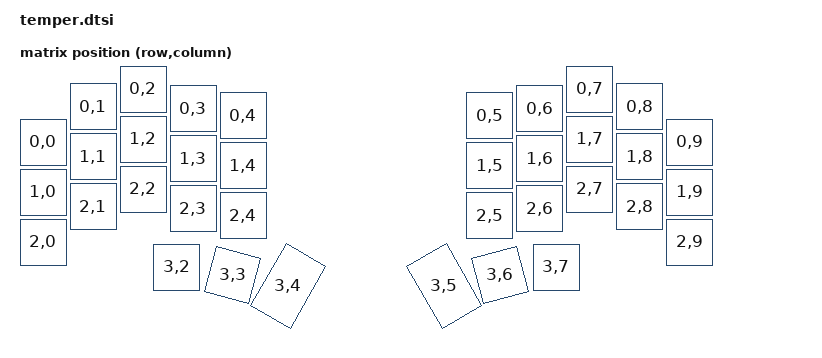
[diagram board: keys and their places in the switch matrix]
/*
 * Copyright (c) 2020 Pete Johanson
 *
 * SPDX-License-Identifier: MIT
 */

#include <dt-bindings/zmk/matrix_transform.h>
#include <physical_layouts.dtsi>

/ {
    chosen {
        zmk,kscan = &kscan0;
        zmk,physical-layout = &physical_layout0;
    };

    default_transform: keymap_transform_0 {
        compatible = "zmk,matrix-transform";
        columns = <10>;
        rows = <4>;
// | SW1  | SW2  | SW3  | SW4  | SW5  |   | SW5  | SW4  | SW3  | SW2  | SW1  |
// | SW6  | SW7  | SW8  | SW9  | SW10 |   | SW10 | SW9  | SW8  | SW7  | SW6  |
// | SW11 | SW12 | SW13 | SW14 | SW15 |   | SW15 | SW14 | SW13 | SW12 | SW11 |
//               | SW16 | SW17 | SW18 |   | SW18 | SW17 | SW16 |
        map = <
RC(0,0) RC(0,1) RC(0,2) RC(0,3) RC(0,4)  RC(0,5) RC(0,6) RC(0,7) RC(0,8) RC(0,9)
RC(1,0) RC(1,1) RC(1,2) RC(1,3) RC(1,4)  RC(1,5) RC(1,6) RC(1,7) RC(1,8) RC(1,9)
RC(2,0) RC(2,1) RC(2,2) RC(2,3) RC(2,4)  RC(2,5) RC(2,6) RC(2,7) RC(2,8) RC(2,9)
                RC(3,2) RC(3,3) RC(3,4)  RC(3,5) RC(3,6) RC(3,7)
        >;
    };

    physical_layout0: physical_layout_0 {
        compatible = "zmk,physical-layout";
        display-name = "Default Layout";

        kscan = <&kscan0>;
        transform = <&default_transform>;

        keys  //                     w   h    x    y     rot    rx    ry
            = <&key_physical_attrs 100 100    0  106       0     0     0>
            , <&key_physical_attrs 100 100  100   35       0     0     0>
            , <&key_physical_attrs 100 100  200    0       0     0     0>
            , <&key_physical_attrs 100 100  300   39       0     0     0>
            , <&key_physical_attrs 100 100  400   53       0     0     0>
            , <&key_physical_attrs 100 100  893   53       0     0     0>
            , <&key_physical_attrs 100 100  993   39       0     0     0>
            , <&key_physical_attrs 100 100 1093    0       0     0     0>
            , <&key_physical_attrs 100 100 1193   35       0     0     0>
            , <&key_physical_attrs 100 100 1293  106       0     0     0>
            , <&key_physical_attrs 100 100    0  206       0     0     0>
            , <&key_physical_attrs 100 100  100  135       0     0     0>
            , <&key_physical_attrs 100 100  200  100       0     0     0>
            , <&key_physical_attrs 100 100  300  139       0     0     0>
            , <&key_physical_attrs 100 100  400  153       0     0     0>
            , <&key_physical_attrs 100 100  893  153       0     0     0>
            , <&key_physical_attrs 100 100  993  139       0     0     0>
            , <&key_physical_attrs 100 100 1093  100       0     0     0>
            , <&key_physical_attrs 100 100 1193  135       0     0     0>
            , <&key_physical_attrs 100 100 1293  206       0     0     0>
            , <&key_physical_attrs 100 100    0  306       0     0     0>
            , <&key_physical_attrs 100 100  100  235       0     0     0>
            , <&key_physical_attrs 100 100  200  200       0     0     0>
            , <&key_physical_attrs 100 100  300  239       0     0     0>
            , <&key_physical_attrs 100 100  400  253       0     0     0>
            , <&key_physical_attrs 100 100  893  253       0     0     0>
            , <&key_physical_attrs 100 100  993  239       0     0     0>
            , <&key_physical_attrs 100 100 1093  200       0     0     0>
            , <&key_physical_attrs 100 100 1193  235       0     0     0>
            , <&key_physical_attrs 100 100 1293  306       0     0     0>
            , <&key_physical_attrs 100 100  267  356       0     0     0>
            , <&key_physical_attrs 100 100  379  372    1500   429   422>
            , <&key_physical_attrs 100 150  493  370    3000   543   440>
            , <&key_physical_attrs 100 150  800  370 (-3000)   850   440>
            , <&key_physical_attrs 100 100  914  372 (-1500)   964   422>
            , <&key_physical_attrs 100 100 1026  356       0     0     0>
            ;
    };
};

